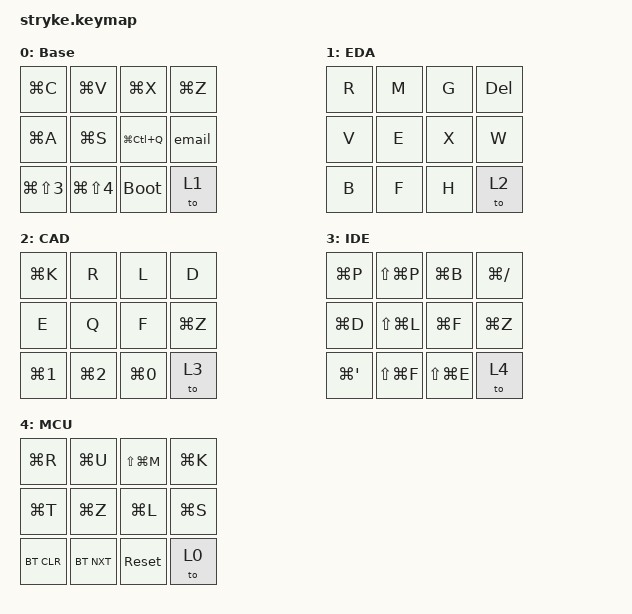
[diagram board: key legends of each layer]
#include <behaviors.dtsi>
#include <dt-bindings/zmk/bt.h>
#include <dt-bindings/zmk/keys.h>

/ {
    macros {
        email: email {
            compatible = "zmk,behavior-macro";
            #binding-cells = <0>;
            bindings = <&none &kp G &kp A &kp V &kp I &kp N &kp DOT &kp G &kp R &kp A &kp N &kp G &kp E &kp R &kp R &kp AT &kp G &kp M &kp A &kp I &kp L &kp DOT &kp C &kp O &kp M>;
            label = "EMAIL";
        };
    };

    keymap {
        compatible = "zmk,keymap";

        base_layer {
            label = "Base";
            bindings = <
                &kp LG(C)       &kp LG(V)       &kp LG(X)      &kp LG(Z)
                &kp LG(A)       &kp LG(S)       &kp LG(LC(Q))  &email
                &kp LG(LS(N3))  &kp LG(LS(N4))  &bootloader    &to 1
            >;
        };

        kicad_layer {
            label = "EDA";
            bindings = <
                &kp R  &kp M  &kp G  &kp DEL
                &kp V  &kp E  &kp X  &kp W
                &kp B  &kp F  &kp H  &to 2
            >;
        };

        fusion_layer {
            label = "CAD";
            bindings = <
                &kp LG(K)   &kp R       &kp L       &kp D
                &kp E       &kp Q       &kp F       &kp LG(Z)
                &kp LG(N1)  &kp LG(N2)  &kp LG(N0)  &to 3
            >;
        };

        vscode_layer {
            label = "IDE";
            bindings = <
                &kp LG(P)    &kp LS(LG(P))  &kp LG(B)      &kp LG(FSLH)
                &kp LG(D)    &kp LS(LG(L))  &kp LG(F)      &kp LG(Z)
                &kp LG(SQT)  &kp LS(LG(F))  &kp LS(LG(E))  &to 4
            >;
        };

        arduino_layer {
            label = "MCU";
            bindings = <
                &kp LG(R)   &kp LG(U)   &kp LS(LG(M))  &kp LG(K)
                &kp LG(T)   &kp LG(Z)   &kp LG(L)      &kp LG(S)
                &bt BT_CLR  &bt BT_NXT  &sys_reset     &to 0
            >;
        };
    };
};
